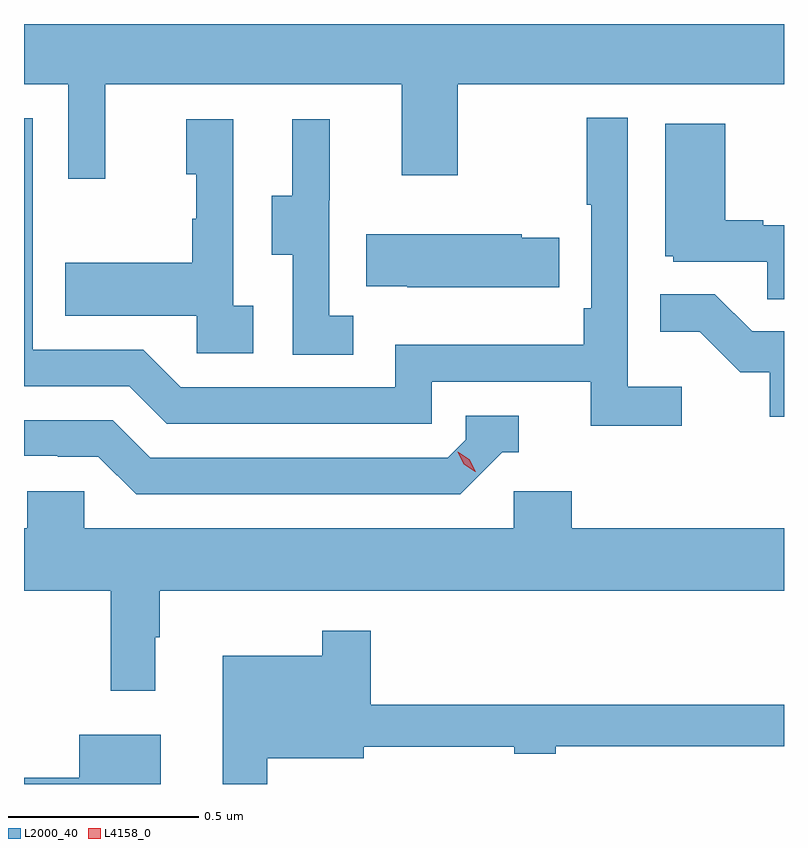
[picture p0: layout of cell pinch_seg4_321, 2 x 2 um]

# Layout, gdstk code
import gdstk
lib = gdstk.Library(unit=1e-6, precision=1e-09)
def P(c, l, *ps):  # polygons
    for p in ps: c.add(gdstk.Polygon(p, *l))
L2000_40 = (2000, 40)
L4158_0 = (4158, 0)

pinch_seg4_321 = lib.new_cell('pinch_seg4_321')
P(pinch_seg4_321, L2000_40, [(912.899,798.152),(913.679,798.152),(913.679,797.913),(913.827,797.913),(913.827,798.152),(914.685,798.152),(914.685,798.311),(912.685,798.311),(912.685,798.152),(912.801,798.152),(912.801,797.904),(912.899,797.904)],
  [(914.416,797.356),(914.274,797.356),(914.274,798.064),(914.166,798.064),(914.166,797.836),(914.178,797.836),(914.178,797.563),(914.158,797.563),(914.158,797.467),(913.662,797.467),(913.662,797.355),(913.098,797.355),(912.999,797.454),(912.708,797.454),(912.708,798.063),(912.685,798.063),(912.685,797.358),(912.962,797.358),(913.061,797.259),(913.758,797.259),(913.758,797.37),(914.177,797.37),(914.177,797.254),(914.416,797.254)],
  [(913.552,797.543),(913.488,797.543),(913.488,797.847),(913.49,797.847),(913.49,798.061),(913.391,798.061),(913.391,797.859),(913.337,797.859),(913.337,797.704),(913.392,797.704),(913.392,797.44),(913.552,797.44)],
  [(913.288,797.57),(913.236,797.57),(913.236,798.061),(913.112,798.061),(913.112,797.916),(913.138,797.916),(913.138,797.798),(913.128,797.798),(913.128,797.683),(912.793,797.683),(912.793,797.543),(913.14,797.543),(913.14,797.445),(913.288,797.445)],
  [(914.685,797.781),(914.63,797.781),(914.63,797.794),(914.53,797.794),(914.53,798.049),(914.372,798.049),(914.372,797.7),(914.394,797.7),(914.394,797.685),(914.641,797.685),(914.641,797.587),(914.685,797.587)],
  [(914.093,797.748),(913.995,797.748),(913.995,797.758),(913.585,797.758),(913.585,797.621),(913.693,797.621),(913.693,797.618),(914.093,797.618)],
  [(914.685,797.502),(914.601,797.502),(914.503,797.6),(914.359,797.6),(914.359,797.501),(914.463,797.501),(914.57,797.394),(914.647,797.394),(914.647,797.277),(914.685,797.277)],
  [(913.944,797.184),(913.987,797.184),(913.987,797.28),(913.848,797.28),(913.848,797.217),(913.8,797.169),(913.017,797.169),(912.918,797.268),(912.685,797.268),(912.685,797.175),(912.774,797.175),(912.774,797.172),(912.881,797.172),(912.98,797.073),(913.833,797.073)],
  [(913.03,796.697),(913.042,796.697),(913.042,796.82),(914.685,796.82),(914.685,796.984),(914.126,796.984),(914.126,797.082),(913.974,797.082),(913.974,796.984),(912.843,796.984),(912.843,797.082),(912.693,797.082),(912.693,796.984),(912.685,796.984),(912.685,796.82),(912.913,796.82),(912.913,796.557),(913.03,796.557)],
  [(913.325,796.379),(913.579,796.379),(913.579,796.409),(913.975,796.409),(913.975,796.39),(914.084,796.39),(914.084,796.41),(914.685,796.41),(914.685,796.519),(913.598,796.519),(913.598,796.714),(913.47,796.714),(913.47,796.648),(913.208,796.648),(913.208,796.311),(913.325,796.311)],
  [(913.045,796.441),(912.83,796.441),(912.83,796.328),(912.685,796.328),(912.685,796.311),(913.045,796.311)])
P(pinch_seg4_321, L4158_0, [(913.873,797.133),(913.842,797.152),(913.826,797.185),(913.826,797.186),(913.826,797.186),(913.857,797.166),(913.874,797.133),(913.874,797.133)])

lib.write_gds('pinch_seg4_321.gds')
